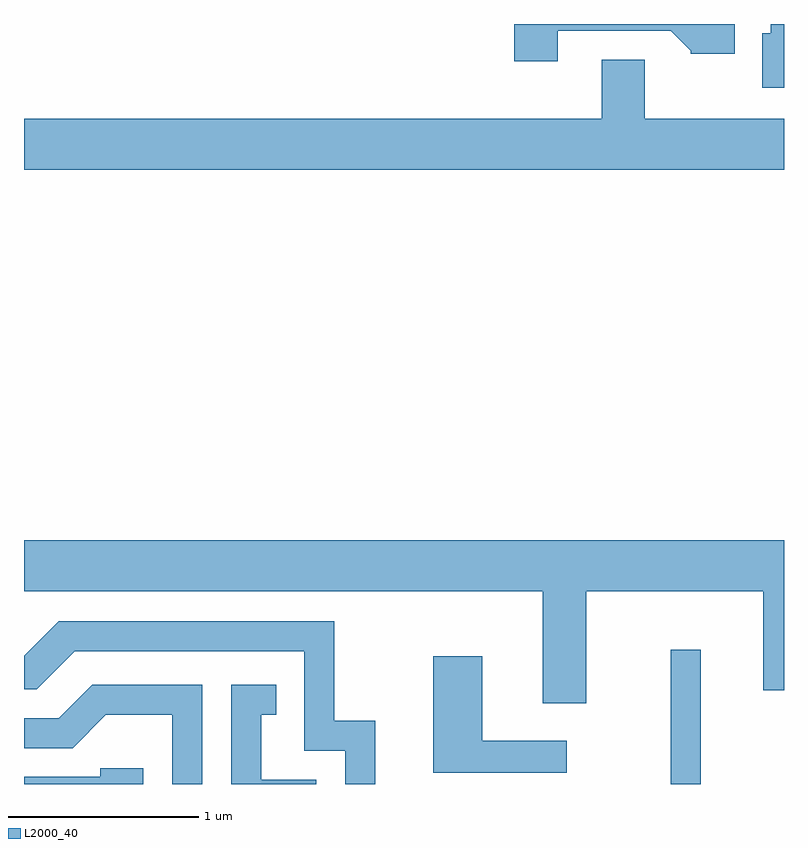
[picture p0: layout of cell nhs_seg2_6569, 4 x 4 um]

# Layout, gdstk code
import gdstk
lib = gdstk.Library(unit=1e-6, precision=1e-09)
def R(c, l, rs):  # rectangles x0, y0, x1, y1
    for r in rs: c.add(gdstk.rectangle(r[:2], r[2:], *l))
def P(c, l, *ps):  # polygons
    for p in ps: c.add(gdstk.Polygon(p, *l))
L2000_40 = (2000, 40)

nhs_seg2_6569 = lib.new_cell('nhs_seg2_6569')
R(nhs_seg2_6569, L2000_40, [(383.016,991.802,383.174,992.508)])
P(nhs_seg2_6569, L2000_40, [(382.419,995.766),(383.014,995.766),(383.12,995.66),(383.12,995.646),(383.353,995.646),(383.353,995.802),(382.191,995.802),(382.191,995.606),(382.419,995.606)],
  [(383.611,995.802),(383.541,995.802),(383.541,995.754),(383.496,995.754),(383.496,995.466),(383.611,995.466)],
  [(383.611,995.304),(382.879,995.304),(382.879,995.614),(382.651,995.614),(382.651,995.304),(379.611,995.304),(379.611,995.036),(383.611,995.036)],
  [(382.569,992.816),(383.501,992.816),(383.501,992.296),(383.611,992.296),(383.611,993.084),(379.611,993.084),(379.611,992.816),(382.341,992.816),(382.341,992.226),(382.569,992.226)],
  [(381.459,992.134),(381.244,992.134),(381.244,992.659),(379.794,992.659),(379.611,992.476),(379.611,992.301),(379.677,992.301),(379.877,992.501),(381.086,992.501),(381.086,991.976),(381.301,991.976),(381.301,991.802),(381.459,991.802)],
  [(382.468,992.029),(382.024,992.029),(382.024,992.474),(381.766,992.474),(381.766,991.861),(382.468,991.861)],
  [(381.149,991.824),(380.859,991.824),(380.859,992.166),(380.938,992.166),(380.938,992.324),(380.701,992.324),(380.701,991.802),(381.149,991.802)],
  [(380.549,992.324),(379.969,992.324),(379.794,992.149),(379.611,992.149),(379.611,991.991),(379.867,991.991),(380.042,992.166),(380.391,992.166),(380.391,991.802),(380.549,991.802)],
  [(380.239,991.884),(380.011,991.884),(380.011,991.839),(379.611,991.839),(379.611,991.802),(380.239,991.802)])

lib.write_gds('nhs_seg2_6569.gds')
